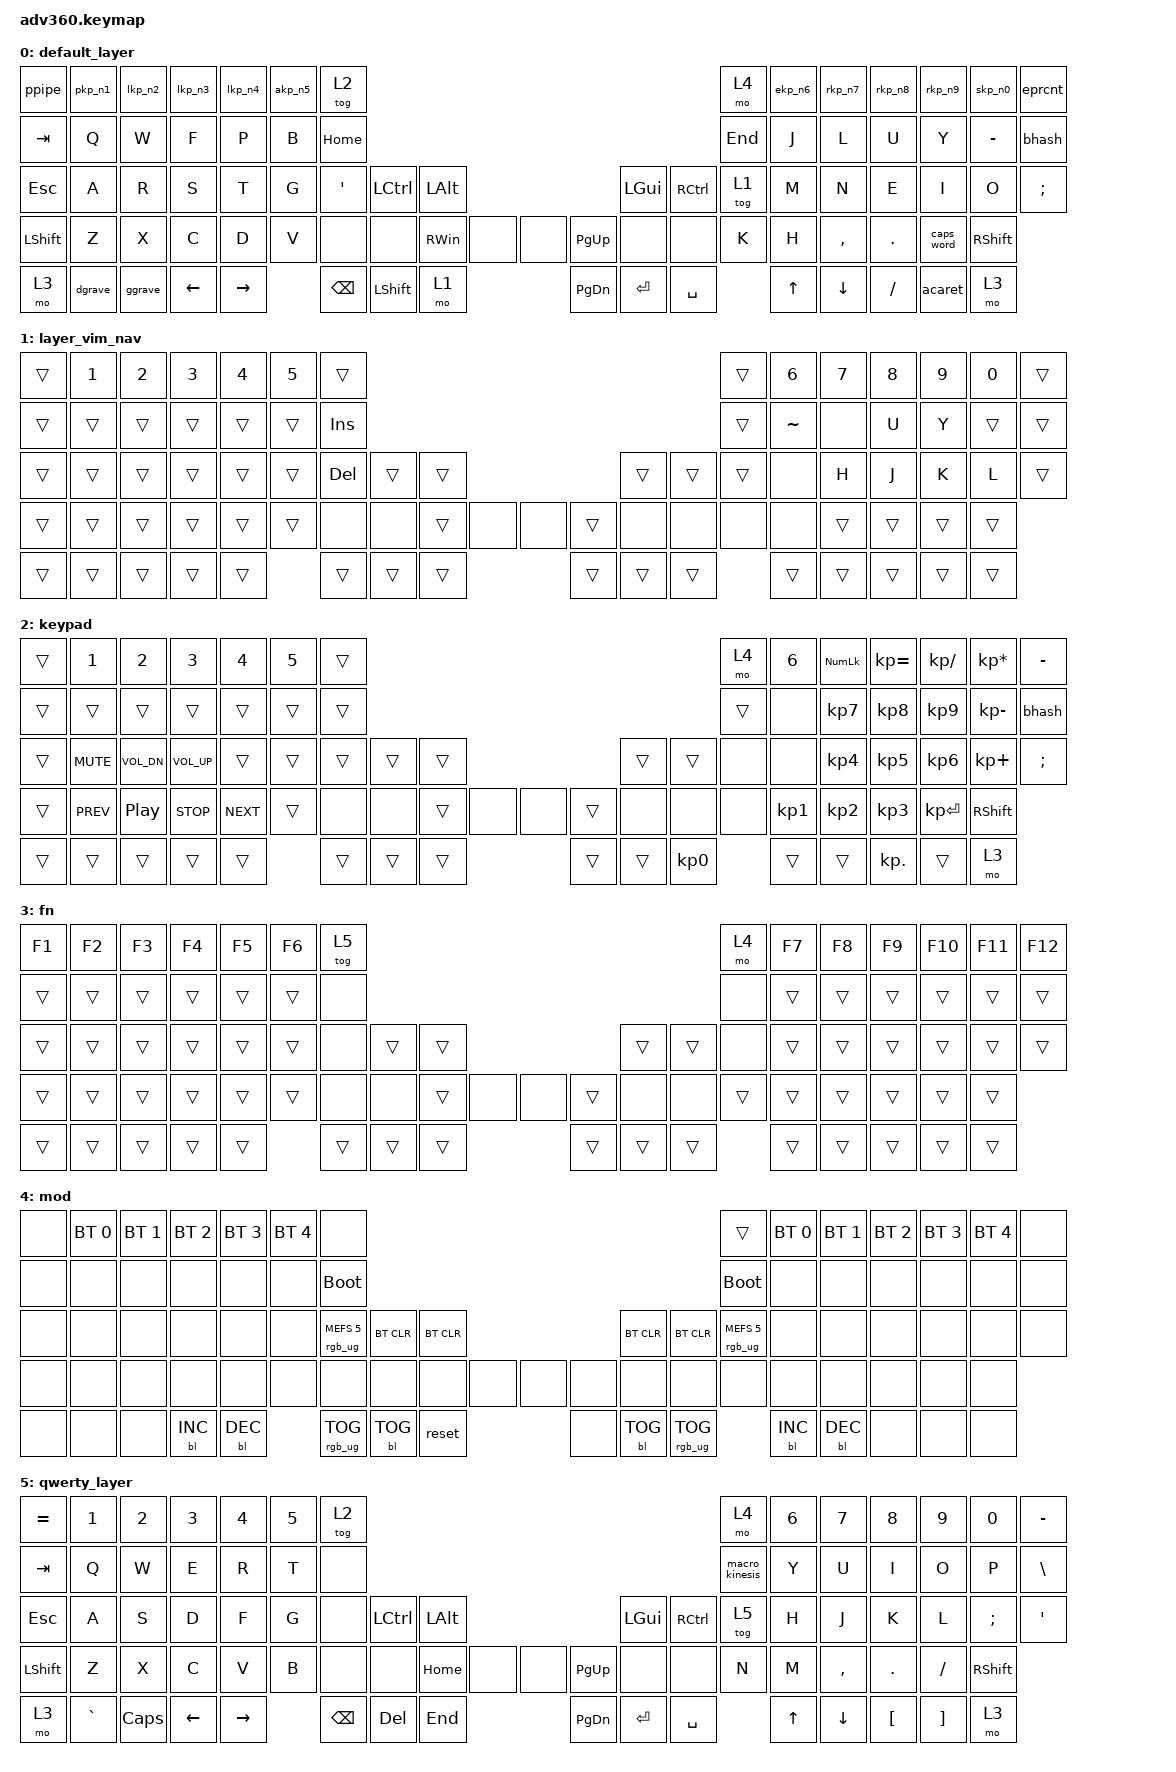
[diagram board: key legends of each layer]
#include <behaviors.dtsi>
#include <dt-bindings/zmk/keys.h>
#include <dt-bindings/zmk/bt.h>
#include <dt-bindings/zmk/rgb.h>
#include <dt-bindings/zmk/backlight.h>

// #define MEH LA(LC(LSHFT))

// &sk {
//     release-after-ms = <2000>;
// };

/ {
  behaviors {
    #include "macros.dtsi"

    hm: homerow_mods {
        compatible = "zmk,behavior-hold-tap";
        label = "HOMEROW_MODS";
        #binding-cells = <2>;
        tapping-term-ms = <200>;
        quick_tap_ms = <175>;
        flavor = "tap-preferred";
        bindings = <&kp>, <&kp>;
    };
    gpipe: grave_pipe {
          compatible = "zmk,behavior-mod-morph";
          label = "grave_pipe";
          #binding-cells = <0>;
          bindings = <&kp GRAVE>, <&kp PIPE>;
          mods = <(MOD_LGUI|MOD_LSFT|MOD_RSFT)>;
      };
    ppipe: pipe_pipe {
          compatible = "zmk,behavior-mod-morph";
          label = "pipe_pipe";
          #binding-cells = <0>;
          bindings = <&kp PIPE>, <&kp PIPE>;
          mods = <(MOD_LGUI|MOD_LSFT|MOD_RSFT)>;
    };
    pkp_n1: plus_kp_n1 {
          compatible = "zmk,behavior-mod-morph";
          label = "plus_kp_n1";
          #binding-cells = <0>;
          bindings = <&kp PLUS>, <&kp KP_N1>;
          mods = <(MOD_LGUI|MOD_LSFT|MOD_RSFT)>;
    };
    lkp_n2: left_bracket_kp_n2 {
          compatible = "zmk,behavior-mod-morph";
          label = "left_bracket_kp_n2";
          #binding-cells = <0>;
          bindings = <&kp LEFT_BRACKET>, <&kp KP_N2>;
          mods = <(MOD_LGUI|MOD_LSFT|MOD_RSFT)>;
    };
    lkp_n3: left_brace_kp_n3 {
          compatible = "zmk,behavior-mod-morph";
          label = "left_brace_kp_n3";
          #binding-cells = <0>;
          bindings = <&kp LEFT_BRACE>, <&kp KP_N3>;
          mods = <(MOD_LGUI|MOD_LSFT|MOD_RSFT)>;
    };
    lkp_n4: left_parenthesis_kp_n4 {
          compatible = "zmk,behavior-mod-morph";
          label = "left_parenthesis_kp_n4";
          #binding-cells = <0>;
          bindings = <&kp LEFT_PARENTHESIS>, <&kp KP_N4>;
          mods = <(MOD_LGUI|MOD_LSFT|MOD_RSFT)>;
    };
    akp_n5: amps_kp_n5 {
          compatible = "zmk,behavior-mod-morph";
          label = "amps_kp_n5";
          #binding-cells = <0>;
          bindings = <&kp AMPS>, <&kp KP_N5>;
          mods = <(MOD_LGUI|MOD_LSFT|MOD_RSFT)>;
    };
    ekp_n6: equal_kp_n6 {
          compatible = "zmk,behavior-mod-morph";
          label = "equal_kp_n6";
          #binding-cells = <0>;
          bindings = <&kp EQUAL>, <&kp KP_N6>;
          mods = <(MOD_LGUI|MOD_LSFT|MOD_RSFT)>;
    };
    rkp_n7: right_parenthesis_kp_n7 {
          compatible = "zmk,behavior-mod-morph";
          label = "right_parenthesis_kp_n7";
          #binding-cells = <0>;
          bindings = <&kp RIGHT_PARENTHESIS>, <&kp KP_N7>;
          mods = <(MOD_LGUI|MOD_LSFT|MOD_RSFT)>;
    };
    rkp_n8: right_brace_kp_n8 {
          compatible = "zmk,behavior-mod-morph";
          label = "right_brace_kp_n8";
          #binding-cells = <0>;
          bindings = <&kp RIGHT_BRACE>, <&kp KP_N8>;
          mods = <(MOD_LGUI|MOD_LSFT|MOD_RSFT)>;
    };
    rkp_n9: right_bracket_kp_n9 {
          compatible = "zmk,behavior-mod-morph";
          label = "right_bracket_kp_n9";
          #binding-cells = <0>;
          bindings = <&kp RIGHT_BRACKET>, <&kp KP_N9>;
          mods = <(MOD_LGUI|MOD_LSFT|MOD_RSFT)>;
    };
    skp_n0: star_kp_n0 {
          compatible = "zmk,behavior-mod-morph";
          label = "star_kp_n0";
          #binding-cells = <0>;
          bindings = <&kp STAR>, <&kp KP_N0>;
          mods = <(MOD_LGUI|MOD_LSFT|MOD_RSFT)>;
    };
    eprcnt: excl_prcnt {
          compatible = "zmk,behavior-mod-morph";
          label = "excl_prcnt";
          #binding-cells = <0>;
          bindings = <&kp EXCL>, <&kp PRCNT>;
          mods = <(MOD_LGUI|MOD_LSFT|MOD_RSFT)>;
    };
    dgrave: dllr_grave {
          compatible = "zmk,behavior-mod-morph";
          label = "dllr_grave";
          #binding-cells = <0>;
          bindings = <&kp DLLR>, <&kp GRAVE>;
          mods = <(MOD_LGUI|MOD_LSFT|MOD_RSFT)>;
    };
    ggrave: grave_grave {
          compatible = "zmk,behavior-mod-morph";
          label = "grave_grave";
          #binding-cells = <0>;
          bindings = <&kp GRAVE>, <&kp GRAVE>;
          mods = <(MOD_LGUI|MOD_LSFT|MOD_RSFT)>;
    };
    bhash: bslh_hash {
          compatible = "zmk,behavior-mod-morph";
          label = "bslh_hash";
          #binding-cells = <0>;
          bindings = <&kp BSLH>, <&kp HASH>;
          mods = <(MOD_LGUI|MOD_LSFT|MOD_RSFT)>;
    };
    acaret: at_caret {
          compatible = "zmk,behavior-mod-morph";
          label = "at_caret";
          #binding-cells = <0>;
          bindings = <&kp AT>, <&kp CARET>;
          mods = <(MOD_LGUI|MOD_LSFT|MOD_RSFT)>;
    };
  };

    keymap {
        compatible = "zmk,keymap";

        default_layer { // Colemak-dh layer
            bindings = <
        &ppipe    &pkp_n1     &lkp_n2   &lkp_n3  &lkp_n4    &akp_n5  &tog 2                                                                             &mo 4     &ekp_n6  &rkp_n7     &rkp_n8     &rkp_n9    &skp_n0     &eprcnt
        &kp TAB   &kp Q       &kp W     &kp F    &kp P      &kp B    &kp HOME                                                                           &kp END   &kp J    &kp L       &kp U       &kp Y      &kp MINUS   &bhash
        &kp ESC   &kp A       &kp R     &kp S    &kp T      &kp G    &kp APOS           &kp LCTRL  &kp LALT             &kp LGUI   &kp RCTRL            &tog 1    &kp M    &kp N       &kp E       &kp I      &kp O       &kp SEMI
        &kp LSHFT &kp Z       &kp X     &kp C    &kp D      &kp V             &none     &none      &kp RWIN  &none &none &kp PG_UP  &none      &none               &kp K    &kp H       &kp COMMA   &kp DOT    &caps_word  &kp RSHFT
        &mo 3     &dgrave     &ggrave   &kp LEFT &kp RIGHT                    &kp BSPC  &kp LSHFT  &mo 1                &kp PG_DN  &kp ENTER  &kp SPACE                    &kp UP      &kp DOWN      &kp FSLH   &acaret     &mo 3
            >;
        };

        layer_vim_nav {
            bindings = <
        &trans  &kp N1  &kp N2  &kp N3  &kp N4  &kp N5  &trans                                                        &trans  &kp N6     &kp N7  &kp N8  &kp N9   &kp N0  &trans
        &trans  &trans   &trans  &trans  &trans  &trans &kp INS                                                       &trans  &kp TILDE  &none   &kp U   &kp Y    &trans  &trans
        &trans  &trans  &trans  &trans  &trans  &trans  &kp DEL       &trans &trans             &trans &trans         &trans  &none      &kp H   &kp J   &kp K    &kp L   &trans
        &trans  &trans  &trans  &trans  &trans  &trans        &none  &none  &trans &none &none &trans &none  &none            &none      &none   &trans  &trans   &trans  &trans
        &trans  &trans  &trans  &trans  &trans                &trans &trans &trans             &trans &trans &trans                      &trans  &trans  &trans   &trans  &trans
            >;
        };

        keypad {
      bindings = <
        &trans  &kp N1      &kp N2            &kp N3          &kp N4       &kp N5  &trans                                                        &mo 4   &kp N6  &kp KP_NUM  &kp KP_EQUAL  &kp KP_DIVIDE  &kp KP_MULTIPLY  &kp MINUS
        &trans  &trans      &trans            &trans          &trans       &trans  &trans                                                        &trans  &none   &kp KP_N7   &kp KP_N8     &kp KP_N9      &kp KP_MINUS     &bhash
        &trans  &kp C_MUTE  &kp C_VOL_DN      &kp C_VOL_UP    &trans       &trans  &trans       &trans &trans             &trans &trans          &none   &none   &kp KP_N4   &kp KP_N5     &kp KP_N6      &kp KP_PLUS      &kp SEMI
        &trans  &kp C_PREV  &kp C_PLAY_PAUSE  &kp C_STOP      &kp C_NEXT   &trans        &none  &none  &trans &none &none &trans &none  &none            &none   &kp KP_N1   &kp KP_N2     &kp KP_N3      &kp KP_ENTER     &kp RSHFT
        &trans  &trans      &trans            &trans          &trans                     &trans &trans &trans             &trans &trans &kp KP_N0                &trans      &trans        &kp KP_DOT     &trans           &mo 3
      >;
    };

        fn {
      bindings = <
        &kp F1  &kp F2 &kp F3 &kp F4 &kp F5 &kp F6 &tog 5                                                          &mo 4 &kp F7  &kp F8 &kp F9 &kp F10 &kp F11 &kp F12
        &trans  &trans &trans &trans &trans &trans  &none                                                          &none &trans  &trans &trans &trans  &trans  &trans
        &trans  &trans &trans &trans &trans &trans  &none        &trans &trans             &trans &trans           &none &trans  &trans &trans &trans  &trans  &trans
        &trans  &trans &trans &trans &trans &trans        &none  &none  &trans &none &none &trans &none  &none            &trans &trans &trans &trans  &trans  &trans
        &trans  &trans &trans &trans &trans               &trans &trans &trans             &trans &trans &trans                  &trans &trans &trans  &trans  &trans
      >;
    };

        mod {
      bindings = <
        &none &bt BT_SEL 0 &bt BT_SEL 1 &bt BT_SEL 2 &bt BT_SEL 3 &bt BT_SEL 4 &none                                                                                                  &trans        &bt BT_SEL 0 &bt BT_SEL 1 &bt BT_SEL 2 &bt BT_SEL 3 &bt BT_SEL 4 &none
        &none &none        &none        &none        &none        &none        &bootloader                                                                                            &bootloader   &none        &none        &none        &none        &none        &none
        &none &none        &none        &none        &none        &none        &rgb_ug RGB_MEFS_CMD 5    &bt BT_CLR &bt BT_CLR             &bt BT_CLR &bt BT_CLR         &rgb_ug RGB_MEFS_CMD 5    &none        &none        &none        &none        &none        &none
        &none &none        &none        &none        &none        &none                   &none           &none      &none     &none &none &none      &none      &none                   &none        &none        &none        &none        &none        &none
        &none &none        &none        &bl BL_INC   &bl BL_DEC                           &rgb_ug RGB_TOG &bl BL_TOG &reset                 &none      &bl BL_TOG &rgb_ug RGB_TOG                      &bl BL_INC   &bl BL_DEC   &none        &none        &none
      >;
    };

        qwerty_layer {
      bindings = <
        &kp EQUAL &kp N1    &kp N2   &kp N3   &kp N4     &kp N5 &tog 2                                                                       &mo 4 &kp N6 &kp N7 &kp N8    &kp N9   &kp N0   &kp MINUS
        &kp TAB   &kp Q     &kp W    &kp E    &kp R      &kp T  &none                                                      &macro_kinesis &kp Y  &kp U  &kp I     &kp O    &kp P    &kp BSLH
        &kp ESC   &kp A     &kp S    &kp D    &kp F      &kp G  &none    &kp LCTRL &kp LALT                    &kp LGUI  &kp RCTRL                   &tog 5 &kp H  &kp J  &kp K     &kp L    &kp SEMI &kp SQT
        &kp LSHFT &kp Z     &kp X    &kp C    &kp V      &kp B        &none     &none     &kp HOME &none &none &kp PG_UP &none     &none            &kp N  &kp M  &kp COMMA &kp DOT  &kp FSLH &kp RSHFT
        &mo 3     &kp GRAVE &kp CAPS &kp LEFT &kp RIGHT               &kp BSPC  &kp DEL   &kp END              &kp PG_DN &kp ENTER &kp SPACE               &kp UP &kp DOWN  &kp LBKT &kp RBKT &mo 3
            >;
        };
    };
};

